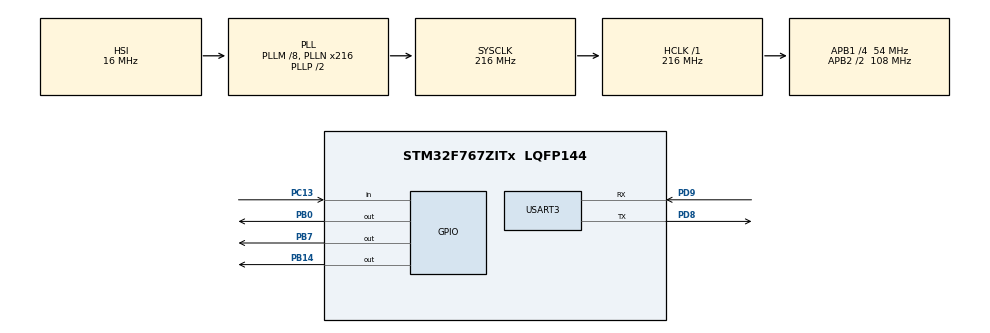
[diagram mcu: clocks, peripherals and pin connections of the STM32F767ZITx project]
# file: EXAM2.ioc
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Mcu.Family=STM32F7
Mcu.Name=STM32F767ZITx
Mcu.Package=LQFP144
NVIC.PriorityGroup=NVIC_PRIORITYGROUP_4
NVIC.TIM2_IRQn=true\:0\:0\:false\:false\:true\:true\:true\:true
PB0.Signal=GPIO_Output
PB14.Signal=GPIO_Output
PB7.Signal=GPIO_Output
PC13.Signal=GPIO_Input
PD8.Mode=Asynchronous
PD8.Signal=USART3_TX
PD9.Mode=Asynchronous
PD9.Signal=USART3_RX
ProjectManager.HeapSize=0x200
ProjectManager.StackSize=0x400
ProjectManager.TargetToolchain=STM32CubeIDE
RCC.AHBFreq_Value=216000000
RCC.APB1CLKDivider=RCC_HCLK_DIV4
RCC.APB1Freq_Value=54000000
RCC.APB1TimFreq_Value=108000000
RCC.APB2CLKDivider=RCC_HCLK_DIV2
RCC.APB2Freq_Value=108000000
RCC.APB2TimFreq_Value=216000000
RCC.CortexFreq_Value=216000000
RCC.HCLKFreq_Value=216000000
RCC.HSE_VALUE=25000000
RCC.HSI_VALUE=16000000
RCC.LSE_VALUE=32768
RCC.PLLM=8
RCC.PLLN=216
RCC.SYSCLKFreq_VALUE=216000000
RCC.SYSCLKSource=RCC_SYSCLKSOURCE_PLLCLK
RCC.USBFreq_Value=216000000
RCC.VCOOutputFreq_Value=432000000
TIM2.Period=1000000-1
TIM2.Prescaler=108-1
USART3.VirtualMode-Asynchronous=VM_ASYNC
VP_TIM2_VS_ClockSourceINT.Mode=Internal
board=custom

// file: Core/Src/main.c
/* USER CODE BEGIN Header */
/**
  ******************************************************************************
  * @file           : main.c
  * @brief          : Main program body
  ******************************************************************************
  * @attention
  *
  * Copyright (c) 2023 STMicroelectronics.
  * All rights reserved.
  *
  * This software is licensed under terms that can be found in the LICENSE file
  * in the root directory of this software component.
  * If no LICENSE file comes with this software, it is provided AS-IS.
  *
  ******************************************************************************
  */
/* USER CODE END Header */
#include "main.h"
#include "tim.h"
#include "usart.h"
#include "gpio.h"

/* USER CODE BEGIN Includes */
#include "string.h"
#include "stdlib.h"
/* USER CODE END Includes */

/* USER CODE BEGIN PV */
int a = 3030;
int isPressed = 0;
int isLed1 = 0;
int isLed2 = 0;
int toggle = 0;
/* USER CODE END PV */

void SystemClock_Config(void);
/* USER CODE BEGIN PFP */
#define print(x) HAL_UART_Transmit(&huart3, (uint8_t*)x, strlen(x),1000)
/* USER CODE END PFP */

int main(void)
{

  /* MCU Configuration--------------------------------------------------------*/

  /* Reset of all peripherals, Initializes the Flash interface and the Systick. */
  HAL_Init();

  /* Configure the system clock */
  SystemClock_Config();

  /* Initialize all configured peripherals */
  MX_GPIO_Init();
  MX_USART3_UART_Init();
  MX_TIM2_Init();

  /* Infinite loop */
  while (1)
  {

    /* USER CODE BEGIN 3 */
	 if(!isPressed){
		 if(toggle){
			 HAL_GPIO_WritePin(GPIOB, GPIO_PIN_0, 0);
			 HAL_GPIO_WritePin(GPIOB, GPIO_PIN_7, 0);
			 if(a < 3000){
			 	print("STOP");
			 	break;
			 }
			 	char buffer[30];
			 	sprintf(buffer, "%d", a);
			 	print(buffer);
			 	print("\n\r");
			 	a -= 2;
		 }
	 }
	 if(HAL_GPIO_ReadPin(GPIOC, GPIO_PIN_13) == GPIO_PIN_SET){
		 isPressed = 1;
		 HAL_GPIO_WritePin(GPIOB, GPIO_PIN_0, 1);
		 HAL_Delay(1000);
		 HAL_GPIO_WritePin(GPIOB, GPIO_PIN_7, 1);
		 HAL_Delay(1000);
	 }
  }
  /* USER CODE END 3 */
}

void SystemClock_Config(void)
{
  RCC_OscInitTypeDef RCC_OscInitStruct = {0};
  RCC_ClkInitTypeDef RCC_ClkInitStruct = {0};

  /** Configure the main internal regulator output voltage
  */
  __HAL_RCC_PWR_CLK_ENABLE();
  __HAL_PWR_VOLTAGESCALING_CONFIG(PWR_REGULATOR_VOLTAGE_SCALE1);

  /** Initializes the RCC Oscillators according to the specified parameters
  * in the RCC_OscInitTypeDef structure.
  */
  RCC_OscInitStruct.OscillatorType = RCC_OSCILLATORTYPE_HSI;
  RCC_OscInitStruct.HSIState = RCC_HSI_ON;
  RCC_OscInitStruct.HSICalibrationValue = RCC_HSICALIBRATION_DEFAULT;
  RCC_OscInitStruct.PLL.PLLState = RCC_PLL_ON;
  RCC_OscInitStruct.PLL.PLLSource = RCC_PLLSOURCE_HSI;
  RCC_OscInitStruct.PLL.PLLM = 8;
  RCC_OscInitStruct.PLL.PLLN = 216;
  RCC_OscInitStruct.PLL.PLLP = RCC_PLLP_DIV2;
  RCC_OscInitStruct.PLL.PLLQ = 2;
  RCC_OscInitStruct.PLL.PLLR = 2;
  if (HAL_RCC_OscConfig(&RCC_OscInitStruct) != HAL_OK)
  {
    Error_Handler();
  }

  /** Activate the Over-Drive mode
  */
  if (HAL_PWREx_EnableOverDrive() != HAL_OK)
  {
    Error_Handler();
  }

  /** Initializes the CPU, AHB and APB buses clocks
  */
  RCC_ClkInitStruct.ClockType = RCC_CLOCKTYPE_HCLK|RCC_CLOCKTYPE_SYSCLK
                              |RCC_CLOCKTYPE_PCLK1|RCC_CLOCKTYPE_PCLK2;
  RCC_ClkInitStruct.SYSCLKSource = RCC_SYSCLKSOURCE_PLLCLK;
  RCC_ClkInitStruct.AHBCLKDivider = RCC_SYSCLK_DIV1;
  RCC_ClkInitStruct.APB1CLKDivider = RCC_HCLK_DIV4;
  RCC_ClkInitStruct.APB2CLKDivider = RCC_HCLK_DIV2;

  if (HAL_RCC_ClockConfig(&RCC_ClkInitStruct, FLASH_LATENCY_7) != HAL_OK)
  {
    Error_Handler();
  }
}

void Error_Handler(void)
{
  __disable_irq();
  while (1)
  {
  }
}
